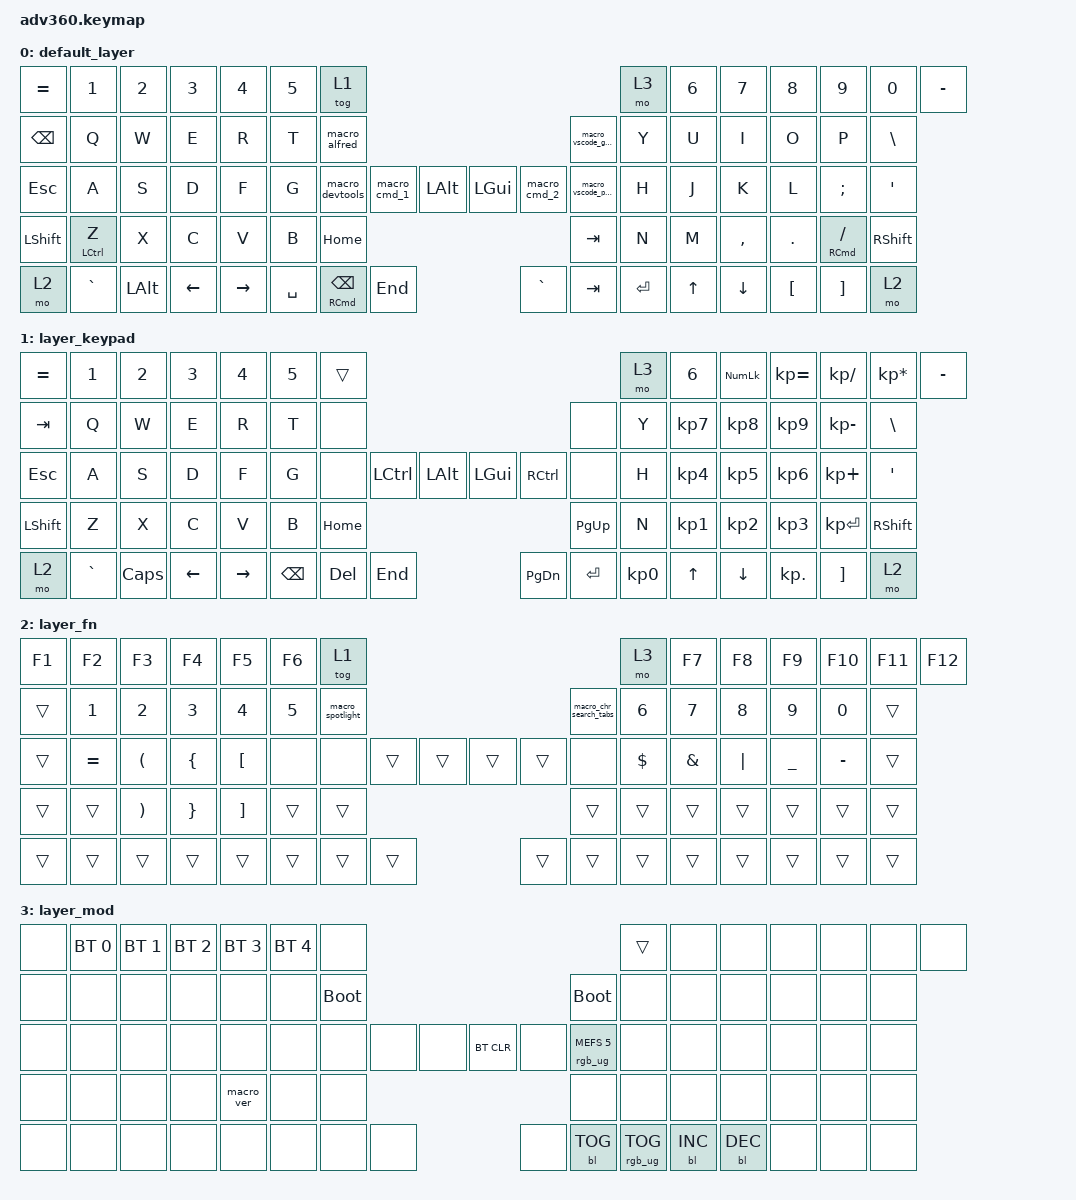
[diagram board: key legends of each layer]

/*
 * Copyright (c) 2020 The ZMK Contributors
 *
 * SPDX-License-Identifier: MIT
 */


/* THIS FILE WAS GENERATED!
 *
 * This file was generated automatically. You may or may not want to
 * edit it directly.
 */

#include <behaviors.dtsi>
#include <dt-bindings/zmk/keys.h>
#include <dt-bindings/zmk/bt.h>
#include <dt-bindings/zmk/rgb.h>
#include <dt-bindings/zmk/backlight.h>

/ {
  behaviors {
    #include "macros.dtsi"
    #include "version.dtsi"

    hm: homerow_mods {
        compatible = "zmk,behavior-hold-tap";
        label = "HOMEROW_MODS";
        #binding-cells = <2>;
        tapping-term-ms = <200>;
        quick_tap_ms = <175>;
        flavor = "tap-preferred";
        bindings = <&kp>, <&kp>;
    };
  };

    keymap {
        compatible = "zmk,keymap";


        default_layer {
            bindings = <
     &kp EQUAL              &kp N1        &kp N2    &kp N3     &kp N4  &kp N5                     &tog 1                                                                                               &mo 3  &kp N6  &kp N7     &kp N8    &kp N9                   &kp N0  &kp MINUS
 &kp BACKSPACE               &kp Q         &kp W     &kp E      &kp R   &kp T              &macro_alfred                                                                                  &macro_vscode_goto   &kp Y   &kp U      &kp I     &kp O                    &kp P   &kp BSLH
       &kp ESC               &kp A         &kp S     &kp D      &kp F   &kp G            &macro_devtools                 &macro_cmd_1  &kp LALT                   &kp LGUI  &macro_cmd_2  &macro_vscode_pane   &kp H   &kp J      &kp K     &kp L                 &kp SEMI    &kp SQT
     &kp LSHFT  &mt LEFT_CONTROL Z         &kp X     &kp C      &kp V   &kp B                                                          &kp HOME                    &kp TAB                                     &kp N   &kp M  &kp COMMA   &kp DOT  &mt RIGHT_COMMAND SLASH  &kp RSHFT
         &mo 2           &kp GRAVE  &kp LEFT_ALT  &kp LEFT  &kp RIGHT                          &kp SPACE  &mt RIGHT_COMMAND BACKSPACE   &kp END                  &kp GRAVE       &kp TAB           &kp ENTER          &kp UP   &kp DOWN  &kp LBKT                 &kp RBKT      &mo 2
            >;
        };

        layer_keypad {
            bindings = <
 &kp EQUAL     &kp N1    &kp N2    &kp N3     &kp N4  &kp N5              &trans                                                                 &mo 3  &kp N6  &kp KP_NUM  &kp KP_EQUAL  &kp KP_DIVIDE  &kp KP_MULTIPLY  &kp MINUS
   &kp TAB      &kp Q     &kp W     &kp E      &kp R   &kp T               &none                                                                 &none   &kp Y   &kp KP_N7     &kp KP_N8      &kp KP_N9     &kp KP_MINUS   &kp BSLH
   &kp ESC      &kp A     &kp S     &kp D      &kp F   &kp G               &none  &kp LCTRL  &kp LALT                   &kp LGUI  &kp RCTRL      &none   &kp H   &kp KP_N4     &kp KP_N5      &kp KP_N6      &kp KP_PLUS    &kp SQT
 &kp LSHFT      &kp Z     &kp X     &kp C      &kp V   &kp B                                 &kp HOME                  &kp PG_UP                         &kp N   &kp KP_N1     &kp KP_N2      &kp KP_N3     &kp KP_ENTER  &kp RSHFT
     &mo 2  &kp GRAVE  &kp CAPS  &kp LEFT  &kp RIGHT                    &kp BSPC    &kp DEL   &kp END                  &kp PG_DN  &kp ENTER  &kp KP_N0              &kp UP      &kp DOWN     &kp KP_DOT         &kp RBKT      &mo 2
            >;
        };

        layer_fn {
            bindings = <
 &kp F1     &kp F2                 &kp F3           &kp F4             &kp F5  &kp F6                      &tog 1                                                                   &mo 3      &kp F7         &kp F8    &kp F9         &kp F10    &kp F11  &kp F12
 &trans     &kp N1                 &kp N2           &kp N3             &kp N4  &kp N5            &macro_spotlight                                                  &macro_chr_search_tabs      &kp N6         &kp N7    &kp N8          &kp N9     &kp N0   &trans
 &trans  &kp EQUAL   &kp LEFT_PARENTHESIS   &kp LEFT_BRACE   &kp LEFT_BRACKET   &none                       &none  &trans  &trans                  &trans  &trans                   &none  &kp DOLLAR  &kp AMPERSAND  &kp PIPE  &kp UNDERSCORE  &kp MINUS   &trans
 &trans     &trans  &kp RIGHT_PARENTHESIS  &kp RIGHT_BRACE  &kp RIGHT_BRACKET  &trans                                      &trans                  &trans                                      &trans         &trans    &trans          &trans     &trans   &trans
 &trans     &trans                 &trans           &trans             &trans                              &trans  &trans  &trans                  &trans  &trans                  &trans                     &trans    &trans          &trans     &trans   &trans
            >;
        };

        layer_mod {
            bindings = <
  &none  &bt BT_SEL 0  &bt BT_SEL 1  &bt BT_SEL 2  &bt BT_SEL 3  &bt BT_SEL 4                  &none                                                                          &trans   &none       &none       &none   &none   &none   &none
  &none         &none         &none         &none         &none         &none            &bootloader                                                                     &bootloader   &none       &none       &none   &none   &none   &none
  &none         &none         &none         &none         &none         &none                  &none   &none   &none                  &bt BT_CLR       &none  &rgb_ug RGB_MEFS_CMD 5   &none       &none       &none   &none   &none   &none
  &none         &none         &none         &none    &macro_ver         &none                                  &none                       &none                                       &none       &none       &none   &none   &none   &none
  &none         &none         &none         &none         &none                                &none   &none   &none                       &none  &bl BL_TOG         &rgb_ug RGB_TOG          &bl BL_INC  &bl BL_DEC   &none   &none   &none
            >;
        };

    };
};
